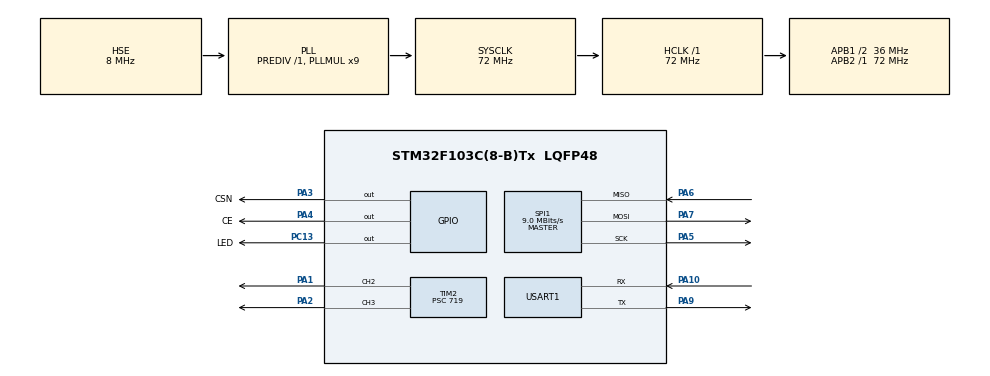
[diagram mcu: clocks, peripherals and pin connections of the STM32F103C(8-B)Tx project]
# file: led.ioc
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Mcu.Family=STM32F1
Mcu.Name=STM32F103C(8-B)Tx
Mcu.Package=LQFP48
NVIC.PriorityGroup=NVIC_PRIORITYGROUP_4
PA1.Signal=S_TIM2_CH2
PA10.Mode=Asynchronous
PA10.Signal=USART1_RX
PA13.Mode=Serial_Wire
PA13.Signal=SYS_JTMS-SWDIO
PA14.Mode=Serial_Wire
PA14.Signal=SYS_JTCK-SWCLK
PA2.Signal=S_TIM2_CH3
PA3.GPIO_Label=CSN
PA3.GPIO_Speed=GPIO_SPEED_FREQ_HIGH
PA3.Signal=GPIO_Output
PA4.GPIO_Label=CE
PA4.GPIO_Speed=GPIO_SPEED_FREQ_HIGH
PA4.Signal=GPIO_Output
PA5.Mode=Full_Duplex_Master
PA5.Signal=SPI1_SCK
PA6.Mode=Full_Duplex_Master
PA6.Signal=SPI1_MISO
PA7.Mode=Full_Duplex_Master
PA7.Signal=SPI1_MOSI
PA9.Mode=Asynchronous
PA9.Signal=USART1_TX
PC13-TAMPER-RTC.GPIO_Label=LED
PC13-TAMPER-RTC.Signal=GPIO_Output
PD0-OSC_IN.Mode=HSE-External-Oscillator
PD0-OSC_IN.Signal=RCC_OSC_IN
PD1-OSC_OUT.Mode=HSE-External-Oscillator
PD1-OSC_OUT.Signal=RCC_OSC_OUT
ProjectManager.HeapSize=0x200
ProjectManager.StackSize=0x400
ProjectManager.TargetToolchain=MDK-ARM V5.32
RCC.AHBFreq_Value=72000000
RCC.APB1CLKDivider=RCC_HCLK_DIV2
RCC.APB1Freq_Value=36000000
RCC.APB1TimFreq_Value=72000000
RCC.APB2Freq_Value=72000000
RCC.APB2TimFreq_Value=72000000
RCC.HCLKFreq_Value=72000000
RCC.PLLMUL=RCC_PLL_MUL9
RCC.PLLSourceVirtual=RCC_PLLSOURCE_HSE
RCC.SYSCLKFreq_VALUE=72000000
RCC.SYSCLKSource=RCC_SYSCLKSOURCE_PLLCLK
RCC.USBFreq_Value=72000000
SH.S_TIM2_CH2.0=TIM2_CH2,PWM Generation2 CH2
SH.S_TIM2_CH3.0=TIM2_CH3,PWM Generation3 CH3
SPI1.BaudRatePrescaler=SPI_BAUDRATEPRESCALER_8
SPI1.CalculateBaudRate=9.0 MBits/s
SPI1.Direction=SPI_DIRECTION_2LINES
SPI1.Mode=SPI_MODE_MASTER
SPI1.VirtualType=VM_MASTER
TIM2.AutoReloadPreload=TIM_AUTORELOAD_PRELOAD_ENABLE
TIM2.Channel-PWM\ Generation2\ CH2=TIM_CHANNEL_2
TIM2.Channel-PWM\ Generation3\ CH3=TIM_CHANNEL_3
TIM2.Period=2000
TIM2.Prescaler=719
TIM2.Pulse-PWM\ Generation2\ CH2=149
TIM2.Pulse-PWM\ Generation3\ CH3=149
USART1.VirtualMode=VM_ASYNC
board=custom

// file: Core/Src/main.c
/* USER CODE BEGIN Header */
/**
  ******************************************************************************
  * @file           : main.c
  * @brief          : Main program body
  ******************************************************************************
  * @attention
  *
  * Copyright (c) 2025 STMicroelectronics.
  * All rights reserved.
  *
  * This software is licensed under terms that can be found in the LICENSE file
  * in the root directory of this software component.
  * If no LICENSE file comes with this software, it is provided AS-IS.
  *
  ******************************************************************************
  */
/* USER CODE END Header */
#include "main.h"

/* USER CODE BEGIN Includes */
#include "nrf24l01.h"
#include <string.h>
#include <stdio.h>
/* USER CODE END Includes */

SPI_HandleTypeDef hspi1;

TIM_HandleTypeDef htim2;

UART_HandleTypeDef huart1;

/* USER CODE BEGIN PV */
uint8_t rx_buffer[12];
float rpy_angles[3]; // roll, pitch, yaw
/* USER CODE END PV */

void SystemClock_Config(void);
static void MX_GPIO_Init(void);
static void MX_TIM2_Init(void);
static void MX_SPI1_Init(void);
static void MX_USART1_UART_Init(void);
/* USER CODE BEGIN PFP */
void SetServoAngle(float angle_ch2, float angle_ch3, uint16_t delay_ms);
/* USER CODE END PFP */

int main(void)
{

  /* MCU Configuration--------------------------------------------------------*/

  /* Reset of all peripherals, Initializes the Flash interface and the Systick. */
  HAL_Init();

  /* Configure the system clock */
  SystemClock_Config();

  /* Initialize all configured peripherals */
  MX_GPIO_Init();
  MX_TIM2_Init();
  MX_SPI1_Init();
  MX_USART1_UART_Init();
  /* USER CODE BEGIN 2 */
	printf("STM32 nRF24L01 RX Demo Start\r\n");
	// init servo motor
	HAL_TIM_PWM_Start(&htim2, TIM_CHANNEL_2);
	HAL_TIM_PWM_Start(&htim2, TIM_CHANNEL_3);

	// init nRF24L01
	NRF24_CSN_HIGH(); // init CSN to high
	NRF24_CE_LOW();   // init CE to low
	HAL_Delay(100);

	if(NRF24_Check() == 0)
	{
			// nRF24L01 check passed, flas LED
			for(int i = 0; i < 5; i++)
			{
					HAL_GPIO_WritePin(LED_GPIO_Port, LED_Pin, GPIO_PIN_SET);
					HAL_Delay(100);
					HAL_GPIO_WritePin(LED_GPIO_Port, LED_Pin, GPIO_PIN_RESET);
					HAL_Delay(100);
			}
	}

	NRF24_Init();     // init nRF24L01
	NRF24_RX_Mode();  // receive mode
  /* USER CODE END 2 */

  /* Infinite loop */
  /* USER CODE BEGIN WHILE */
  while (1)
  {
			if(NRF24_RX_Data(rx_buffer) == 0)
			{
        // parse float data
        memcpy(&rpy_angles[0], &rx_buffer[0], 4);  // roll
        memcpy(&rpy_angles[1], &rx_buffer[4], 4);  // pitch
        memcpy(&rpy_angles[2], &rx_buffer[8], 4);  // yaw

        // control servo motor
				// SetServoAngle(45.0f, 30.0f, 10);
         SetServoAngle(rpy_angles[2], rpy_angles[1], 10); // yaw, pitch

        // flash LED to show data is received
					HAL_GPIO_WritePin(LED_GPIO_Port, LED_Pin, GPIO_PIN_SET);
					HAL_Delay(50);
					HAL_GPIO_WritePin(LED_GPIO_Port, LED_Pin, GPIO_PIN_RESET);
				// SetServoAngle(45.0f, 30.0f, 10);
    }

//		SetServoAngle(-90.0f, 45.0f, 500);  // yaw, pitch, delay time
//    SetServoAngle(0.0f, 0.0f, 500);
//    SetServoAngle(90.0f, -45.0f, 500);
    /* USER CODE END WHILE */

  }
}

void SystemClock_Config(void)
{
  RCC_OscInitTypeDef RCC_OscInitStruct = {0};
  RCC_ClkInitTypeDef RCC_ClkInitStruct = {0};

  /** Initializes the RCC Oscillators according to the specified parameters
  * in the RCC_OscInitTypeDef structure.
  */
  RCC_OscInitStruct.OscillatorType = RCC_OSCILLATORTYPE_HSE;
  RCC_OscInitStruct.HSEState = RCC_HSE_ON;
  RCC_OscInitStruct.HSEPredivValue = RCC_HSE_PREDIV_DIV1;
  RCC_OscInitStruct.HSIState = RCC_HSI_ON;
  RCC_OscInitStruct.PLL.PLLState = RCC_PLL_ON;
  RCC_OscInitStruct.PLL.PLLSource = RCC_PLLSOURCE_HSE;
  RCC_OscInitStruct.PLL.PLLMUL = RCC_PLL_MUL9;
  if (HAL_RCC_OscConfig(&RCC_OscInitStruct) != HAL_OK)
  {
    Error_Handler();
  }

  /** Initializes the CPU, AHB and APB buses clocks
  */
  RCC_ClkInitStruct.ClockType = RCC_CLOCKTYPE_HCLK|RCC_CLOCKTYPE_SYSCLK
                              |RCC_CLOCKTYPE_PCLK1|RCC_CLOCKTYPE_PCLK2;
  RCC_ClkInitStruct.SYSCLKSource = RCC_SYSCLKSOURCE_PLLCLK;
  RCC_ClkInitStruct.AHBCLKDivider = RCC_SYSCLK_DIV1;
  RCC_ClkInitStruct.APB1CLKDivider = RCC_HCLK_DIV2;
  RCC_ClkInitStruct.APB2CLKDivider = RCC_HCLK_DIV1;

  if (HAL_RCC_ClockConfig(&RCC_ClkInitStruct, FLASH_LATENCY_2) != HAL_OK)
  {
    Error_Handler();
  }
}

static void MX_SPI1_Init(void)
{

  /* SPI1 parameter configuration*/
  hspi1.Instance = SPI1;
  hspi1.Init.Mode = SPI_MODE_MASTER;
  hspi1.Init.Direction = SPI_DIRECTION_2LINES;
  hspi1.Init.DataSize = SPI_DATASIZE_8BIT;
  hspi1.Init.CLKPolarity = SPI_POLARITY_LOW;
  hspi1.Init.CLKPhase = SPI_PHASE_1EDGE;
  hspi1.Init.NSS = SPI_NSS_SOFT;
  hspi1.Init.BaudRatePrescaler = SPI_BAUDRATEPRESCALER_8;
  hspi1.Init.FirstBit = SPI_FIRSTBIT_MSB;
  hspi1.Init.TIMode = SPI_TIMODE_DISABLE;
  hspi1.Init.CRCCalculation = SPI_CRCCALCULATION_DISABLE;
  hspi1.Init.CRCPolynomial = 10;
  if (HAL_SPI_Init(&hspi1) != HAL_OK)
  {
    Error_Handler();
  }

}

static void MX_TIM2_Init(void)
{

  TIM_MasterConfigTypeDef sMasterConfig = {0};
  TIM_OC_InitTypeDef sConfigOC = {0};

  htim2.Instance = TIM2;
  htim2.Init.Prescaler = 719;
  htim2.Init.CounterMode = TIM_COUNTERMODE_UP;
  htim2.Init.Period = 2000;
  htim2.Init.ClockDivision = TIM_CLOCKDIVISION_DIV1;
  htim2.Init.AutoReloadPreload = TIM_AUTORELOAD_PRELOAD_ENABLE;
  if (HAL_TIM_PWM_Init(&htim2) != HAL_OK)
  {
    Error_Handler();
  }
  sMasterConfig.MasterOutputTrigger = TIM_TRGO_RESET;
  sMasterConfig.MasterSlaveMode = TIM_MASTERSLAVEMODE_DISABLE;
  if (HAL_TIMEx_MasterConfigSynchronization(&htim2, &sMasterConfig) != HAL_OK)
  {
    Error_Handler();
  }
  sConfigOC.OCMode = TIM_OCMODE_PWM1;
  sConfigOC.Pulse = 149;
  sConfigOC.OCPolarity = TIM_OCPOLARITY_HIGH;
  sConfigOC.OCFastMode = TIM_OCFAST_DISABLE;
  if (HAL_TIM_PWM_ConfigChannel(&htim2, &sConfigOC, TIM_CHANNEL_2) != HAL_OK)
  {
    Error_Handler();
  }
  if (HAL_TIM_PWM_ConfigChannel(&htim2, &sConfigOC, TIM_CHANNEL_3) != HAL_OK)
  {
    Error_Handler();
  }
  HAL_TIM_MspPostInit(&htim2);

}

static void MX_USART1_UART_Init(void)
{

  huart1.Instance = USART1;
  huart1.Init.BaudRate = 115200;
  huart1.Init.WordLength = UART_WORDLENGTH_8B;
  huart1.Init.StopBits = UART_STOPBITS_1;
  huart1.Init.Parity = UART_PARITY_NONE;
  huart1.Init.Mode = UART_MODE_TX_RX;
  huart1.Init.HwFlowCtl = UART_HWCONTROL_NONE;
  huart1.Init.OverSampling = UART_OVERSAMPLING_16;
  if (HAL_UART_Init(&huart1) != HAL_OK)
  {
    Error_Handler();
  }

}

static void MX_GPIO_Init(void)
{
  GPIO_InitTypeDef GPIO_InitStruct = {0};

  /* GPIO Ports Clock Enable */
  __HAL_RCC_GPIOC_CLK_ENABLE();
  __HAL_RCC_GPIOD_CLK_ENABLE();
  __HAL_RCC_GPIOA_CLK_ENABLE();

  /*Configure GPIO pin Output Level */
  HAL_GPIO_WritePin(LED_GPIO_Port, LED_Pin, GPIO_PIN_RESET);

  /*Configure GPIO pin Output Level */
  HAL_GPIO_WritePin(GPIOA, CSN_Pin|CE_Pin, GPIO_PIN_RESET);

  /*Configure GPIO pin : LED_Pin */
  GPIO_InitStruct.Pin = LED_Pin;
  GPIO_InitStruct.Mode = GPIO_MODE_OUTPUT_PP;
  GPIO_InitStruct.Pull = GPIO_NOPULL;
  GPIO_InitStruct.Speed = GPIO_SPEED_FREQ_LOW;
  HAL_GPIO_Init(LED_GPIO_Port, &GPIO_InitStruct);

  /*Configure GPIO pins : CSN_Pin CE_Pin */
  GPIO_InitStruct.Pin = CSN_Pin|CE_Pin;
  GPIO_InitStruct.Mode = GPIO_MODE_OUTPUT_PP;
  GPIO_InitStruct.Pull = GPIO_NOPULL;
  GPIO_InitStruct.Speed = GPIO_SPEED_FREQ_HIGH;
  HAL_GPIO_Init(GPIOA, &GPIO_InitStruct);

}

/* USER CODE BEGIN 4 */
void SetServoAngle(float angle_ch2, float angle_ch3, uint16_t delay_ms)
{
    // map -90~90 degrees to 50-250 PWM
    uint16_t pwm_ch2 = (uint16_t)(165.0f + (angle_ch2 * 200.0f) / 180.0f);
    uint16_t pwm_ch3 = (uint16_t)(150.0f + (- angle_ch3 * 200.0f) / 180.0f);

    // PWM value threshold
		if (pwm_ch2 < 50) pwm_ch2 = 50;
    if (pwm_ch2 > 250) pwm_ch2 = 250;
		if (pwm_ch3 < 50) pwm_ch3 = 50;
    if (pwm_ch3 > 250) pwm_ch3 = 250;

    // control servo motor based on PWM
    __HAL_TIM_SET_COMPARE(&htim2, TIM_CHANNEL_2, pwm_ch2); // yaw rotation of pan tilt hat
    __HAL_TIM_SET_COMPARE(&htim2, TIM_CHANNEL_3, pwm_ch3); // pitch rotation

    HAL_Delay(delay_ms);
}

int fputc(int ch, FILE *f)
{
    HAL_UART_Transmit(&huart1, (uint8_t *)&ch, 1, 0xFFFF);
    return ch;
}
/* USER CODE END 4 */

void Error_Handler(void)
{
  __disable_irq();
  while (1)
  {
  }
}
